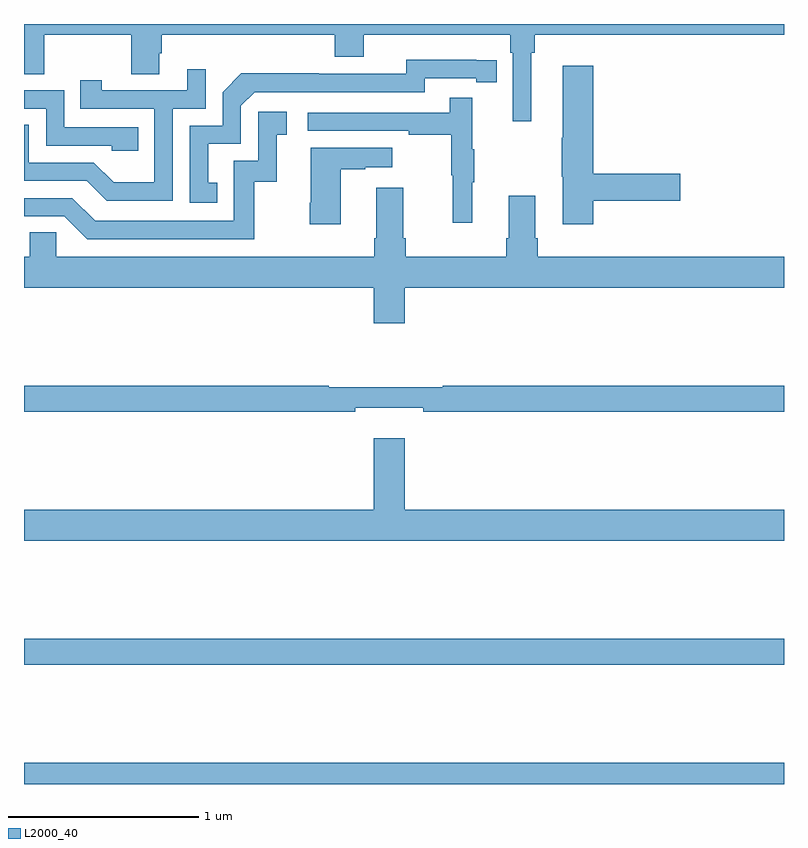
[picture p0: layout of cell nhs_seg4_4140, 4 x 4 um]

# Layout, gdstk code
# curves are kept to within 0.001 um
import gdstk
lib = gdstk.Library(unit=1e-6, precision=1e-09)
def R(c, l, rs):  # rectangles x0, y0, x1, y1
    for r in rs: c.add(gdstk.rectangle(r[:2], r[2:], *l))
def P(c, l, *ps):  # polygons
    for p in ps: c.add(gdstk.Polygon(p, *l))
L2000_40 = (2000, 40)

nhs_seg4_4140 = lib.new_cell('nhs_seg4_4140')
R(nhs_seg4_4140, L2000_40, [(331,768.9,335,769.012), (331,769.528,335,769.664)])
P(nhs_seg4_4140, L2000_40, [(333.67,772.748),(333.689,772.748),(333.689,772.844),(335,772.844),(335,772.9),(331,772.9),(331,772.636),(331.107,772.636),(331.107,772.844),(331.564,772.844),(331.564,772.636),(331.711,772.636),(331.711,772.746),(331.724,772.746),(331.724,772.844),(332.636,772.844),(332.636,772.727),(332.788,772.727),(332.788,772.844),(333.56,772.844),(333.56,772.748),(333.573,772.748),(333.573,772.389),(333.67,772.389)],
  [(332.018,772.065),(331.969,772.065),(331.969,772.269),(332.142,772.269),(332.142,772.47),(332.214,772.542),(333.108,772.542),(333.108,772.614),(333.38,772.614),(333.38,772.594),(333.488,772.594),(333.488,772.71),(333.012,772.711),(333.012,772.638),(332.552,772.638),(332.552,772.64),(332.144,772.64),(332.046,772.542),(332.046,772.365),(331.872,772.365),(331.872,771.96),(332.018,771.96)],
  [(333.995,771.97),(334.453,771.97),(334.453,772.112),(333.995,772.112),(333.995,772.681),(333.836,772.681),(333.836,772.301),(333.829,772.301),(333.829,772.095),(333.836,772.095),(333.836,771.846),(333.995,771.846)],
  [(331.782,772.455),(331.956,772.455),(331.956,772.663),(331.859,772.663),(331.859,772.551),(331.408,772.551),(331.408,772.603),(331.297,772.603),(331.297,772.455),(331.686,772.455),(331.686,772.066),(331.472,772.066),(331.368,772.17),(331.026,772.17),(331.026,772.369),(331,772.369),(331,772.074),(331.331,772.074),(331.436,771.969),(331.782,771.969)],
  [(331.601,772.356),(331.212,772.356),(331.212,772.551),(331,772.551),(331,772.455),(331.116,772.455),(331.116,772.26),(331.461,772.26),(331.461,772.233),(331.601,772.233)],
  [(333.359,772.067),(333.37,772.067),(333.37,772.241),(333.359,772.241),(333.359,772.513),(333.241,772.513),(333.241,772.434),(332.493,772.434),(332.493,772.338),(333.025,772.338),(333.025,772.318),(333.249,772.318),(333.249,772.104),(333.256,772.104),(333.256,771.855),(333.359,771.855)],
  [(332.212,772.071),(332.33,772.071),(332.33,772.317),(332.383,772.317),(332.383,772.438),(332.232,772.438),(332.232,772.179),(332.103,772.179),(332.103,771.864),(331.374,771.864),(331.254,771.984),(331,771.984),(331,771.888),(331.212,771.888),(331.332,771.768),(332.212,771.768)],
  [(332.668,772.135),(332.795,772.135),(332.795,772.145),(332.938,772.145),(332.938,772.249),(332.51,772.249),(332.51,771.958),(332.503,771.958),(332.503,771.846),(332.668,771.846)],
  [(333.004,771.512),(335,771.512),(335,771.676),(333.704,771.676),(333.704,771.772),(333.691,771.772),(333.691,771.997),(333.551,771.997),(333.551,771.772),(333.539,771.772),(333.539,771.676),(333.008,771.676),(333.008,771.772),(332.995,771.772),(332.995,772.039),(332.855,772.039),(332.855,771.772),(332.843,771.772),(332.843,771.676),(331.17,771.676),(331.17,771.803),(331.031,771.803),(331.031,771.676),(331,771.676),(331,771.512),(332.84,771.512),(332.84,771.324),(333.004,771.324)],
  [(332.744,770.879),(333.1,770.879),(333.1,770.86),(335,770.86),(335,770.996),(333.203,770.996),(333.203,770.989),(332.603,770.989),(332.603,770.996),(331,770.996),(331,770.86),(332.744,770.86)],
  [(335,770.344),(333.004,770.344),(333.004,770.719),(332.84,770.719),(332.84,770.344),(331,770.344),(331,770.18),(335,770.18)])

lib.write_gds('nhs_seg4_4140.gds')
